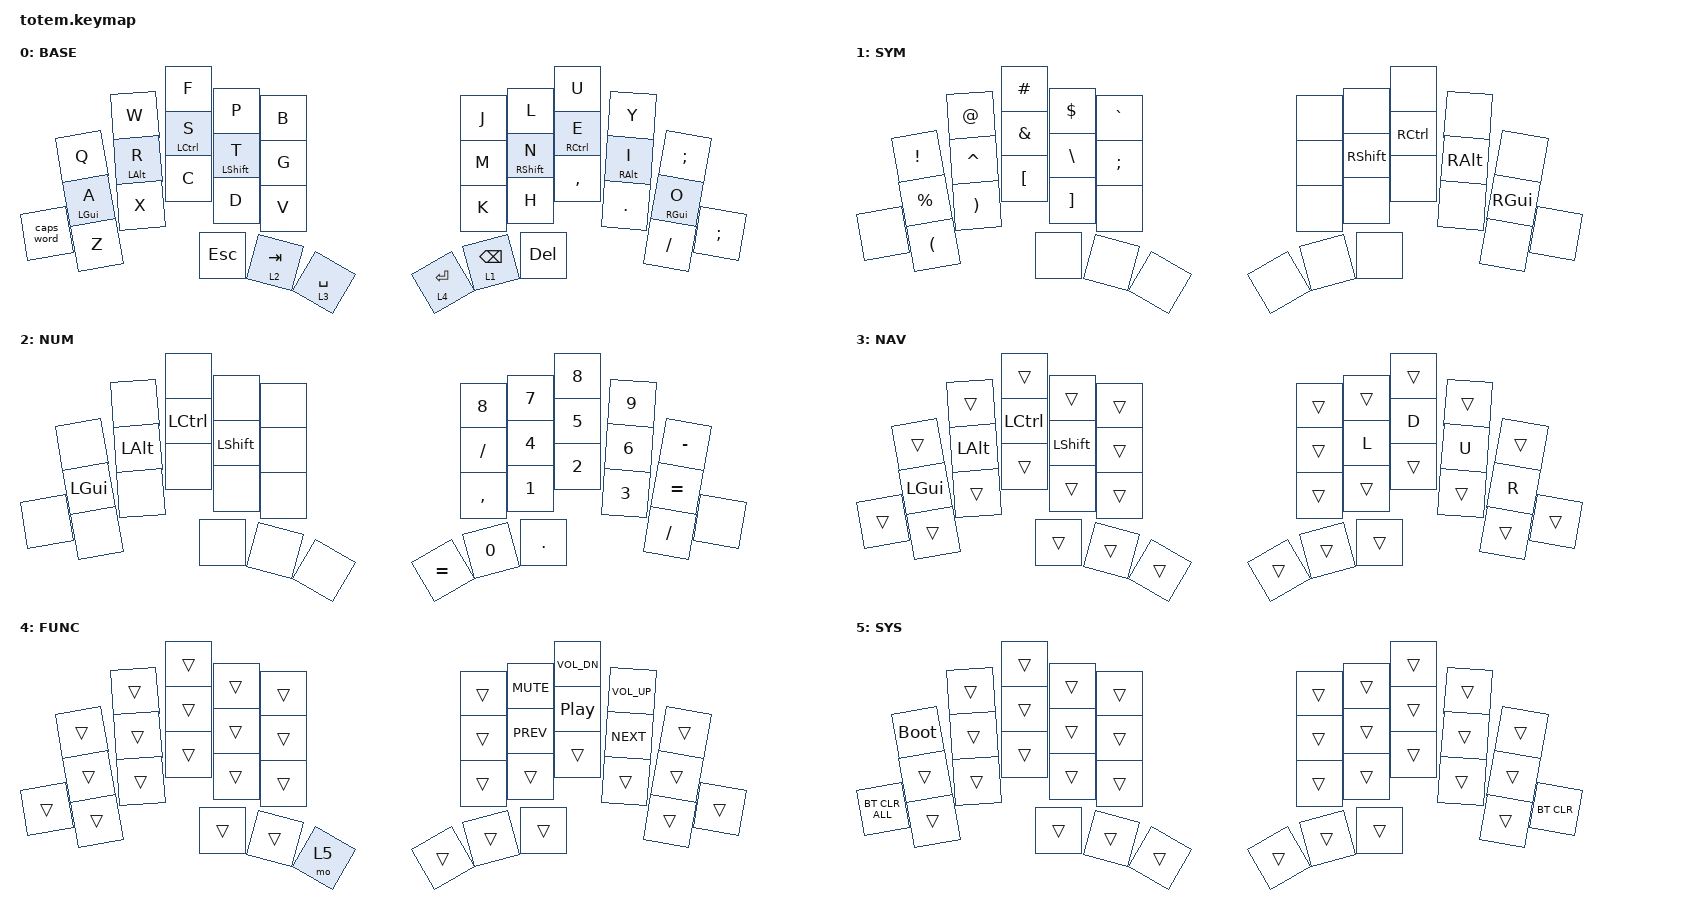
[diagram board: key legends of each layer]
#include <behaviors.dtsi>
#include <dt-bindings/zmk/bt.h>
#include <dt-bindings/zmk/keys.h>

#define BASE 0
#define NAV  1
#define SYM  2
#define ADJ  3
#define TVP1 4
#define TVP2 5

&mt {
    quick-tap-ms = <100>;
    global-quick-tap;
    flavor = "tap-preferred";
    tapping-term-ms = <170>;
};

/ {
    combos {
        compatible = "zmk,combos";

        combo_esc {
            timeout-ms = <50>;
            key-positions = <0 1>;
            bindings = <&kp ESC>;
        };

        combo_tvp {
            timeout-ms = <100>;
            key-positions = <11 12 13>;
            bindings = <&tog 0>;
        };
    };

    macros {
        gif: gif {
            label = "giphy";
            compatible = "zmk,behavior-macro";
            #binding-cells = <0>;
            bindings =
                <&macro_press>,
                <&kp LSHFT>,
                <&macro_tap>,
                <&kp N2>,
                <&macro_release>,
                <&kp LSHFT>,
                <&macro_tap>,
                <&kp G &kp I &kp F>;
        };
    };

    behaviors {
        mt_m: mt_m {
            compatible = "zmk,behavior-hold-tap";
            label = "MT_M";
            bindings = <&kp>, <&kp>;

            #binding-cells = <2>;
            tapping-term-ms = <200>;
            flavor = "tap-preferred";
            quick-tap-ms = <200>;
        };
    };

    keymap {
        compatible = "zmk,keymap";

        // ▄▄▄▄▄▄▄▄▄▄▄▄▄▄▄▄▄▄▄▄▄▄▄▄▄▄▄▄▄▄▄▄▄▄▄▄▄▄▄▄▄▄▄▄▄▄▄▄▄▄▄▄▄▄▄▄▄▄▄▄▄▄▄▄▄▄▄▄▄▄▄▄▄▄▄▄▄▄▄▄▄▄▄▄▄▄▄▄▄▄▄▄▄▄▄▄▄▄▄▄▄▄▄▄▄▄▄▄▄▄▄▄▄▄▄▄▄▄▄▄▄▄▄▄▄▄▄▄▄▄▄▄▄▄▄▄▄▄▄▄▄▄▄▄▄▄▄▄▄

        base_layer {
            label = "BASE";
            bindings = <
            &kp Q       &kp W       &kp F        &kp P        &kp B        &kp J        &kp L            &kp U        &kp Y       &kp SEMI
            &mt LGUI A  &mt LALT R  &mt LCTRL S  &mt LSHFT T  &kp G        &kp M        &mt RSHFT N      &mt RCTRL E  &mt RALT I  &mt RGUI O
&caps_word  &kp Z       &kp X       &kp C        &kp D        &kp V        &kp K        &kp H            &kp COMMA    &kp DOT     &kp FSLH    &kp SEMI
                                    &kp ESCAPE   &lt 2 TAB    &lt 3 SPACE  &lt 4 ENTER  &lt 1 BACKSPACE  &kp DELETE
            >;
        };

        // ▄▄▄▄▄▄▄▄▄▄▄▄▄▄▄▄▄▄▄▄▄▄▄▄▄▄▄▄▄▄▄▄▄▄▄▄▄▄▄▄▄▄▄▄▄▄▄▄▄▄▄▄▄▄▄▄▄▄▄▄▄▄▄▄▄▄▄▄▄▄▄▄▄▄▄▄▄▄▄▄▄▄▄▄▄▄▄▄▄▄▄▄▄▄▄▄▄▄▄▄▄▄▄▄▄▄▄▄▄▄▄▄▄▄▄▄▄▄▄▄▄▄▄▄▄▄▄▄▄▄▄▄▄▄▄▄▄▄▄▄▄▄▄▄▄▄▄▄▄
        // ▄▄▄▄▄▄▄▄▄▄▄▄▄▄▄▄▄▄▄▄▄▄▄▄▄▄▄▄▄▄▄▄▄▄▄▄▄▄▄▄▄▄▄▄▄▄▄▄▄▄▄▄▄▄▄▄▄▄▄▄▄▄▄▄▄▄▄▄▄▄▄▄▄▄▄▄▄▄▄▄▄▄▄▄▄▄▄▄▄▄▄▄▄▄▄▄▄▄▄▄▄▄▄▄▄▄▄▄▄▄▄▄▄▄▄▄▄▄▄▄▄▄▄▄▄▄▄▄▄▄▄▄▄▄▄▄▄▄▄▄▄▄▄▄▄▄▄▄▄

        sym_layer {
            label = "SYM";
            bindings = <
       &kp EXCL              &kp AT                 &kp HASH          &kp DLLR           &kp GRAVE      &none  &none      &none      &none     &none
       &kp PERCENT           &kp CARET              &kp AMPERSAND     &kp BACKSLASH      &kp SEMICOLON  &none  &kp RSHFT  &kp RCTRL  &kp RALT  &kp RGUI
&none  &kp LEFT_PARENTHESIS  &kp RIGHT_PARENTHESIS  &kp LEFT_BRACKET  &kp RIGHT_BRACKET  &none          &none  &none      &none      &none     &none     &none
                                                    &none             &none              &none          &none  &none      &none
            >;
        };

        // ▄▄▄▄▄▄▄▄▄▄▄▄▄▄▄▄▄▄▄▄▄▄▄▄▄▄▄▄▄▄▄▄▄▄▄▄▄▄▄▄▄▄▄▄▄▄▄▄▄▄▄▄▄▄▄▄▄▄▄▄▄▄▄▄▄▄▄▄▄▄▄▄▄▄▄▄▄▄▄▄▄▄▄▄▄▄▄▄▄▄▄▄▄▄▄▄▄▄▄▄▄▄▄▄▄▄▄▄▄▄▄▄▄▄▄▄▄▄▄▄▄▄▄▄▄▄▄▄▄▄▄▄▄▄▄▄▄▄▄▄▄▄▄▄▄▄▄▄▄

        num_layer {
            label = "NUM";
            bindings = <
       &none     &none     &none      &none      &none  &kp N8     &kp N7  &kp N8   &kp N9  &kp MINUS
       &kp LGUI  &kp LALT  &kp LCTRL  &kp LSHFT  &none  &kp FSLH   &kp N4  &kp N5   &kp N6  &kp EQUAL
&none  &none     &none     &none      &none      &none  &kp COMMA  &kp N1  &kp N2   &kp N3  &kp FSLH   &none
                           &none      &none      &none  &kp EQUAL  &kp N0  &kp DOT
            >;
        };

        // ▄▄▄▄▄▄▄▄▄▄▄▄▄▄▄▄▄▄▄▄▄▄▄▄▄▄▄▄▄▄▄▄▄▄▄▄▄▄▄▄▄▄▄▄▄▄▄▄▄▄▄▄▄▄▄▄▄▄▄▄▄▄▄▄▄▄▄▄▄▄▄▄▄▄▄▄▄▄▄▄▄▄▄▄▄▄▄▄▄▄▄▄▄▄▄▄▄▄▄▄▄▄▄▄▄▄▄▄▄▄▄▄▄▄▄▄▄▄▄▄▄▄▄▄▄▄▄▄▄▄▄▄▄▄▄▄▄▄▄▄▄▄▄▄▄▄▄▄▄
        // ▄▄▄▄▄▄▄▄▄▄▄▄▄▄▄▄▄▄▄▄▄▄▄▄▄▄▄▄▄▄▄▄▄▄▄▄▄▄▄▄▄▄▄▄▄▄▄▄▄▄▄▄▄▄▄▄▄▄▄▄▄▄▄▄▄▄▄▄▄▄▄▄▄▄▄▄▄▄▄▄▄▄▄▄▄▄▄▄▄▄▄▄▄▄▄▄▄▄▄▄▄▄▄▄▄▄▄▄▄▄▄▄▄▄▄▄▄▄▄▄▄▄▄▄▄▄▄▄▄▄▄▄▄▄▄▄▄▄▄▄▄▄▄▄▄▄▄▄▄

        nav_layer {
            bindings = <
        &trans    &trans    &trans     &trans     &trans  &trans  &trans  &trans  &trans  &trans
        &kp LGUI  &kp LALT  &kp LCTRL  &kp LSHFT  &trans  &trans  &kp L   &kp D   &kp U   &kp R
&trans  &trans    &trans    &trans     &trans     &trans  &trans  &trans  &trans  &trans  &trans  &trans
                            &trans     &trans     &trans  &trans  &trans  &trans
            >;

            label = "NAV";
        };

        func_layer {
            bindings = <
        &trans  &trans  &trans  &trans  &trans  &trans  &kp C_MUTE  &kp C_VOL_DN      &kp C_VOLUME_UP  &trans
        &trans  &trans  &trans  &trans  &trans  &trans  &kp C_PREV  &kp C_PLAY_PAUSE  &kp C_NEXT       &trans
&trans  &trans  &trans  &trans  &trans  &trans  &trans  &trans      &trans            &trans           &trans  &trans
                        &trans  &trans  &mo 5   &trans  &trans      &trans
            >;

            label = "FUNC";
        };

        sys_layer {
            bindings = <
                &bootloader  &trans  &trans  &trans  &trans  &trans  &trans  &trans  &trans  &trans
                &trans       &trans  &trans  &trans  &trans  &trans  &trans  &trans  &trans  &trans
&bt BT_CLR_ALL  &trans       &trans  &trans  &trans  &trans  &trans  &trans  &trans  &trans  &trans  &bt BT_CLR
                                     &trans  &trans  &trans  &trans  &trans  &trans
            >;

            label = "SYS";
        };
    };
};
